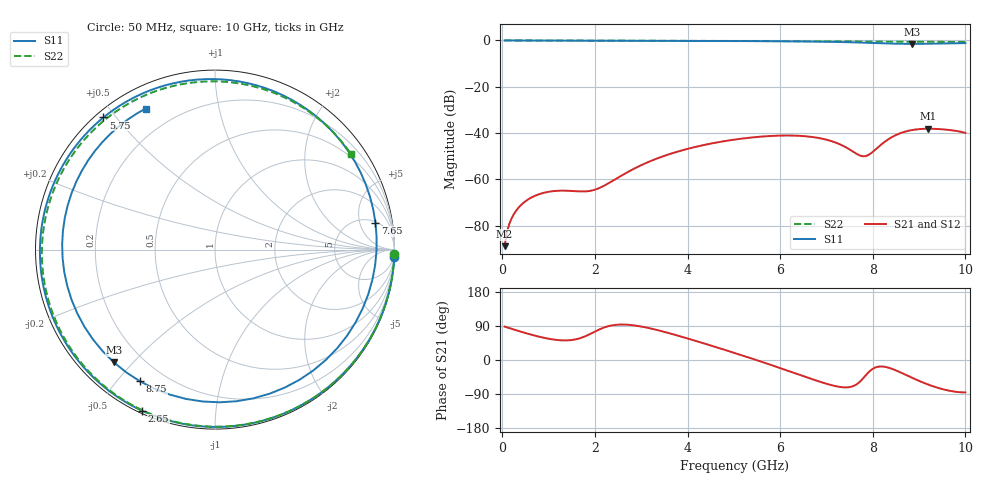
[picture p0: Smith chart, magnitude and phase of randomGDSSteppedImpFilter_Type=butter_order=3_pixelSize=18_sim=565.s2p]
! freq	dB(S11)	phase(S11)	dB(S12)	phase(S12)
!  dB(S21)	phase(S21)	dB(S22)	phase(S22)
!S-par simulation data
#  GHz  S  DB  R 50
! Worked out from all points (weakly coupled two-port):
!   200 points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, 50 MHz to 10 GHz, reference 50 ohm
!   highest |S21| = -38.11 dB at 9.2 GHz (marker M1); lowest = -88.8 dB at 50 MHz (marker M2)
!   lowest |S11| = -1.5 dB at 8.85 GHz (marker M3), VSWR 11.80, Z = 5.08 - j22.2 ohm
!   |S11| at or under -10 dB: nowhere
!   |S22| runs from -0.7 to 0.0 dB; largest |S21 - S12| = 0
!   S11 on the Smith chart (normalised r, x): 50 MHz: 0, -48; 2.65 GHz: 0.01, -0.64; 5.75 GHz: 0.02, +0.46; 7.65 GHz: 5, +9; 8.75 GHz: 0.11, -0.58; 10 GHz: 0.09, +0.62
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0.05  -0.00 -2.4  -88.80 88.2  -88.80 88.2  -0.00 -1.6
0.15  -0.01 -7.1  -79.31 84.2  -79.31 84.2  -0.01 -4.6
0.4  -0.02 -18.9  -71.14 74.8  -71.14 74.8  -0.02 -12.3
0.7  -0.04 -32.8  -67.11 64.4  -67.11 64.4  -0.03 -21.4
1.75  -0.09 -78.9  -65.18 60.5  -65.18 60.5  -0.07 -52.8
2.1  -0.11 -93.1  -63.66 80.8  -63.66 80.8  -0.08 -63.0
2.65  -0.13 -114.4  -57.46 93.5  -57.46 93.5  -0.10 -78.8
3.4  -0.16 -141.8  -50.53 77.4  -50.53 77.4  -0.13 -99.8
4.25  -0.20 -172.0  -45.58 47.7  -45.58 47.7  -0.17 -123.2
5.05  -0.26 158.7  -42.70 17.2  -42.70 17.2  -0.22 -145.4
5.75  -0.32 130.1  -41.28 -10.9  -41.28 -10.9  -0.27 -165.4
6.7  -0.48 81.9  -41.69 -50.9  -41.69 -50.9  -0.36 165.4
7.2  -0.63 48.1  -44.10 -69.1  -44.10 -69.1  -0.41 148.7
7.65  -0.85 9.5  -48.92 -64.3  -48.92 -64.3  -0.46 132.7
8  -1.09 -27.3  -48.09 -23.2  -48.09 -23.2  -0.49 119.6
8.35  -1.32 -69.4  -42.48 -20.7  -42.48 -20.7  -0.53 105.8
8.55  -1.42 -94.6  -40.39 -30.0  -40.39 -30.0  -0.54 97.7
8.75  -1.47 -119.6  -39.08 -41.3  -39.08 -41.3  -0.56 89.4
8.85  -1.48 -131.8  -38.67 -47.0  -38.67 -47.0  -0.57 85.1
9.2  -1.42 -171.6  -38.11 -64.9  -38.11 -64.9  -0.60 70.1
9.55  -1.30 153.8  -38.43 -78.2  -38.43 -78.2  -0.63 54.9
10  -1.15 116.1  -39.92 -85.5  -39.92 -85.5  -0.67 35.2
